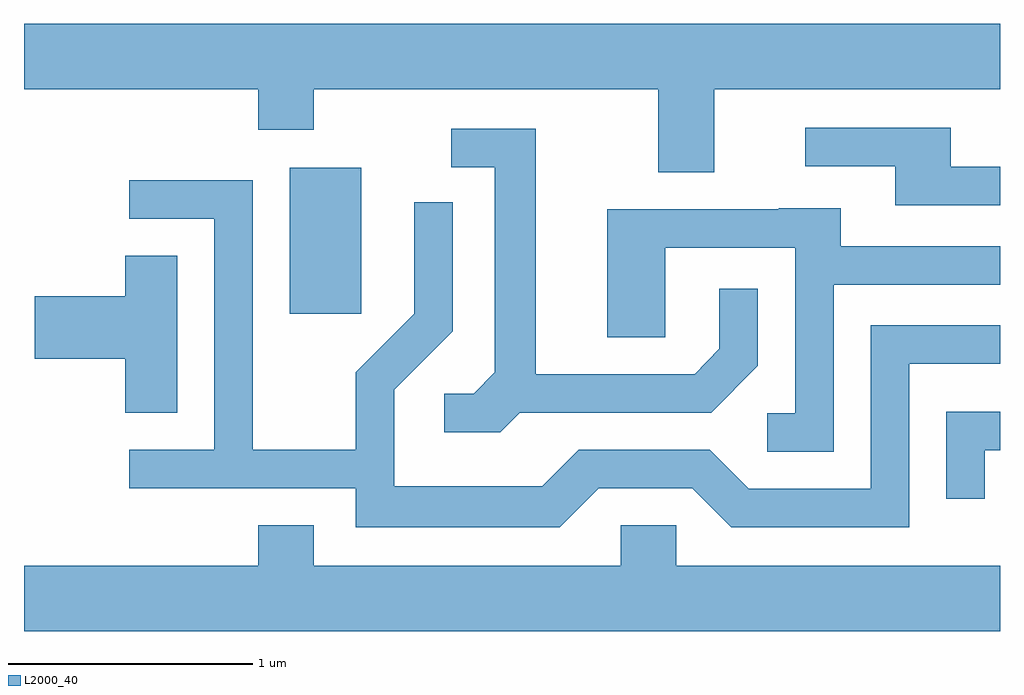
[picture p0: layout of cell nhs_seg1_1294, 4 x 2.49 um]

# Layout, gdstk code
import gdstk
lib = gdstk.Library(unit=1e-6, precision=1e-09)
def R(c, l, rs):  # rectangles x0, y0, x1, y1
    for r in rs: c.add(gdstk.rectangle(r[:2], r[2:], *l))
def P(c, l, *ps):  # polygons
    for p in ps: c.add(gdstk.Polygon(p, *l))
L2000_40 = (2000, 40)

nhs_seg1_1294 = lib.new_cell('nhs_seg1_1294')
R(nhs_seg1_1294, L2000_40, [(226.701,867.576,226.994,868.174)])
P(nhs_seg1_1294, L2000_40, [(228.439,868.496),(229.611,868.496),(229.611,868.764),(225.611,868.764),(225.611,868.496),(226.571,868.496),(226.571,868.331),(226.799,868.331),(226.799,868.496),(228.211,868.496),(228.211,868.156),(228.439,868.156)],
  [(229.611,868.179),(229.409,868.179),(229.409,868.339),(228.813,868.339),(228.813,868.181),(229.181,868.181),(229.181,868.021),(229.611,868.021)],
  [(227.642,867.171),(228.427,867.171),(228.619,867.364),(228.619,867.678),(228.461,867.678),(228.461,867.432),(228.359,867.329),(227.709,867.329),(227.709,868.334),(227.363,868.334),(227.363,868.176),(227.541,868.176),(227.541,867.337),(227.454,867.249),(227.333,867.249),(227.333,867.091),(227.562,867.091)],
  [(227.967,866.861),(228.349,866.861),(228.509,866.701),(229.239,866.701),(229.239,867.371),(229.611,867.371),(229.611,867.529),(229.081,867.529),(229.081,866.859),(228.582,866.859),(228.422,867.019),(227.884,867.019),(227.734,866.869),(227.129,866.869),(227.129,867.264),(227.369,867.504),(227.369,868.033),(227.211,868.033),(227.211,867.577),(226.971,867.337),(226.971,867.019),(226.549,867.019),(226.549,868.124),(226.043,868.124),(226.043,867.966),(226.391,867.966),(226.391,867.019),(226.043,867.019),(226.043,866.861),(226.971,866.861),(226.971,866.701),(227.807,866.701)],
  [(228.929,867.696),(229.611,867.696),(229.611,867.854),(228.959,867.854),(228.959,868.009),(228.705,868.009),(228.705,868.004),(228.001,868.004),(228.001,867.481),(228.239,867.481),(228.239,867.846),(228.771,867.846),(228.771,867.169),(228.658,867.169),(228.658,867.011),(228.929,867.011)],
  [(226.239,867.814),(226.026,867.814),(226.026,867.649),(225.656,867.649),(225.656,867.391),(226.026,867.391),(226.026,867.171),(226.239,867.171)],
  [(229.549,867.016),(229.611,867.016),(229.611,867.174),(229.391,867.174),(229.391,866.818),(229.549,866.818)],
  [(229.611,866.544),(228.284,866.544),(228.284,866.709),(228.056,866.709),(228.056,866.544),(226.799,866.544),(226.799,866.709),(226.571,866.709),(226.571,866.544),(225.611,866.544),(225.611,866.276),(229.611,866.276)])

lib.write_gds('nhs_seg1_1294.gds')
